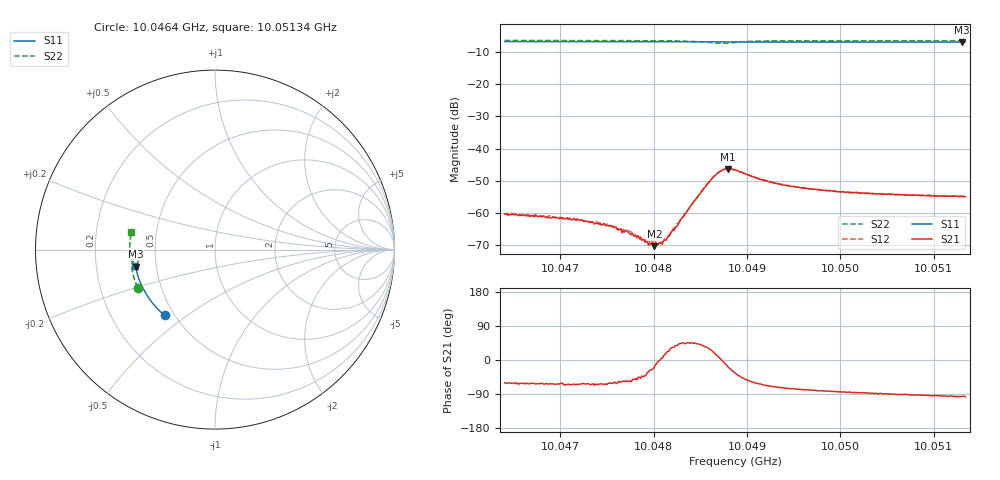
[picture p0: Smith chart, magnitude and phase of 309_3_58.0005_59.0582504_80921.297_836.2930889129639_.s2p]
#  HZ  S  RI  R  50.00
! Rohde & Schwarz Vector Network Analyzer
! Rohde-Schwarz,ZNB20-2Port,1311601062101988,3.16
! Created: UTC 3/21/2024, 1:04:07 AM
! freq[Hz]  re:S11  im:S11  re:S21  im:S21  re:S12  im:S12  re:S22  im:S22
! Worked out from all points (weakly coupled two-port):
!   401 points, 10.0464 GHz to 10.05134 GHz, reference 50 ohm
!   highest |S21| = -46.32 dB at 10.0488 GHz (marker M1); lowest = -70.4 dB at 10.04801 GHz (marker M2)
!   lowest |S11| = -6.9 dB at 10.0513 GHz (marker M3), VSWR 2.65, Z = 19 - j4.53 ohm
!   |S11| at or under -10 dB: nowhere
!   |S22| runs from -7.3 to -6.4 dB; largest |S21 - S12| = 0.00034
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1.0046401e10  -0.2806 -0.366  0.000479 -0.000832  0.000525 -0.00079  -0.4306 -0.2115
1.0046723e10  -0.2967 -0.3522  0.000407 -0.000774  0.00049 -0.000799  -0.4393 -0.1918
1.0047229e10  -0.3207 -0.3289  0.000354 -0.000691  0.000413 -0.000641  -0.4508 -0.1594
1.0047414e10  -0.3292 -0.3199  0.000289 -0.000597  0.000372 -0.000597  -0.4544 -0.1471
1.0047562e10  -0.3356 -0.3126  0.0003 -0.000548  0.000316 -0.000498  -0.4572 -0.1369
1.0047735e10  -0.3431 -0.3041  0.000271 -0.000405  0.000307 -0.000421  -0.4598 -0.1247
1.0047846e10  -0.3477 -0.2983  0.000272 -0.000283  0.000291 -0.000272  -0.4614 -0.1167
1.0047982e10  -0.3533 -0.2912  0.000302 -0.000145  0.00035 -0.000143  -0.4629 -0.1064
1.0048007e10  -0.3541 -0.2901  0.00029 -9.06e-05  0.000306 -6.84e-05  -0.4631 -0.1046
1.0048056e10  -0.3562 -0.2874  0.000342 -1.42e-05  0.000337 3.77e-06  -0.4634 -0.1006
1.0048106e10  -0.3582 -0.2848  0.000369 7.2e-05  0.000356 8.4e-05  -0.4635 -0.0965
1.0048155e10  -0.3601 -0.2823  0.000396 0.000167  0.000389 0.000182  -0.4638 -0.0925
1.0048439e10  -0.371 -0.2669  0.00111 0.00109  0.00107 0.00118  -0.4584 -0.0665
1.0048637e10  -0.3778 -0.2559  0.00332 0.00132  0.00326 0.00151  -0.4386 -0.0547
1.0048723e10  -0.3806 -0.2512  0.00451 0.000108  0.00455 0.000359  -0.4292 -0.0626
1.0048797e10  -0.3832 -0.2472  0.00459 -0.0015  0.00469 -0.0012  -0.4311 -0.0733
1.0048871e10  -0.3857 -0.2432  0.00385 -0.00261  0.00401 -0.00239  -0.4405 -0.0783
1.0049266e10  -0.3986 -0.2205  0.00103 -0.0028  0.0012 -0.00275  -0.4695 -0.05
1.0049699e10  -0.4111 -0.1949  0.000431 -0.00229  0.000545 -0.00227  -0.4749 -0.0163
1.0050526e10  -0.4302 -0.144  1.35e-05 -0.00196  0.000123 -0.00196  -0.4738 0.0415
1.0051304e10  -0.4423 -0.0947  -0.00019 -0.0018  -0.000115 -0.00178  -0.4662 0.093
1.0051341e10  -0.443 -0.0923  -0.000237 -0.00178  -0.000122 -0.0018  -0.4656 0.0955
